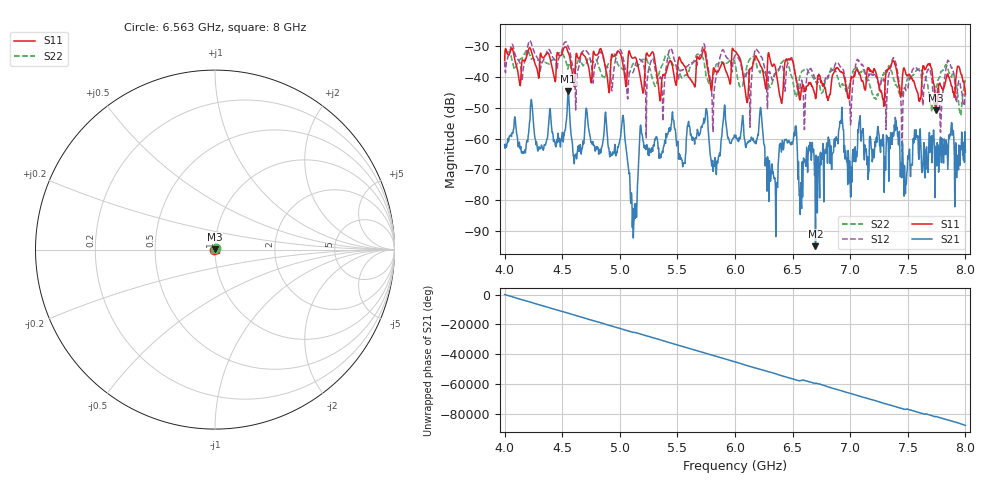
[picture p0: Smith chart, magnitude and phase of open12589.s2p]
# Hz  S  RI  R  50.0
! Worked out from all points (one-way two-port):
!   1000 points, 4 GHz to 8 GHz, reference 50 ohm
!   highest |S21| = -44.55 dB at 4.553 GHz (marker M1); lowest = -94.9 dB at 6.699 GHz (marker M2)
!   lowest |S11| = -50.8 dB at 7.744 GHz (marker M3), VSWR 1.01, Z = 49.9 + j0.247 ohm
!   |S11| at or under -10 dB: start of sweep to end of sweep
!   |S22| runs from -52.4 to -31.0 dB; largest |S21 - S12| = 0.041
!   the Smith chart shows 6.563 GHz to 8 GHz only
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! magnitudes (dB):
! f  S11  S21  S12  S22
! 4 GHz  -34.5  -61.9  -35.0  -31.6
! 4.553 GHz  -32.1  -44.6  -30.2  -36.9
! 4.669 GHz  -32.2  -63.6  -32.1  -35.4
! 5.029 GHz  -36.2  -52.4  -33.8  -37.6
! 5.125 GHz  -33.7  -85.7  -37.4  -35.5
! 5.189 GHz  -42.5  -58.3  -34.7  -34.6
! 5.337 GHz  -43.5  -62.9  -40.9  -39.3
! 5.726 GHz  -31.1  -54.7  -29.4  -34.1
! 5.81 GHz  -37.8  -70.6  -57.7  -39.8
! 6.002 GHz  -31.6  -59.5  -32.9  -36.0
! 6.098 GHz  -46.9  -62.4  -39.2  -37.4
! 6.226 GHz  -36.6  -50.9  -33.3  -37.5
! 6.35 GHz  -36.8  -75.2  -38.8  -38.9
! 6.667 GHz  -43.1  -63.8  -37.9  -39.5
! 6.699 GHz  -47.0  -94.9  -40.9  -41.3
! 6.919 GHz  -38.2  -54.2  -36.7  -43.2
! 6.995 GHz  -45.3  -67.2  -48.3  -42.4
! 7.087 GHz  -39.3  -52.5  -35.2  -38.2
! 7.335 GHz  -37.4  -73.8  -39.3  -36.2
! 7.744 GHz  -50.8  -66.1  -47.4  -43.0
! 7.856 GHz  -40.0  -58.8  -34.9  -38.4
! 8 GHz  -45.6  -64.4  -45.3  -40.9
